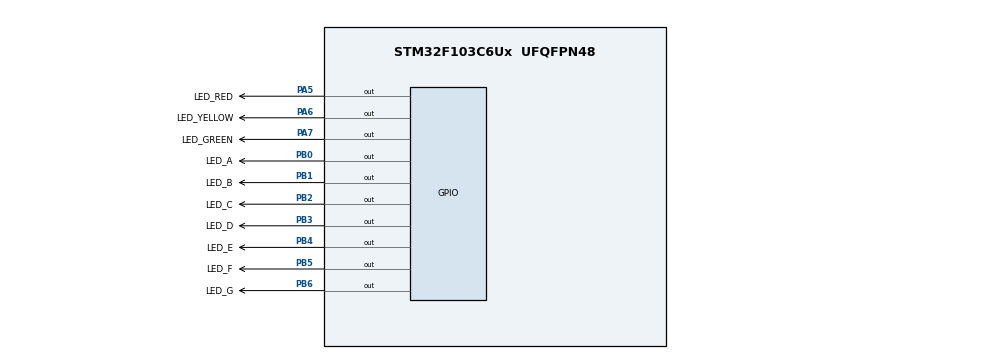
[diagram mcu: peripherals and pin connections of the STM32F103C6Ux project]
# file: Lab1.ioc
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Mcu.Family=STM32F1
Mcu.Name=STM32F103C6Ux
Mcu.Package=UFQFPN48
NVIC.PriorityGroup=NVIC_PRIORITYGROUP_4
PA5.GPIO_Label=LED_RED
PA5.Signal=GPIO_Output
PA6.GPIO_Label=LED_YELLOW
PA6.Signal=GPIO_Output
PA7.GPIO_Label=LED_GREEN
PA7.Signal=GPIO_Output
PB0.GPIO_Label=LED_A
PB0.Signal=GPIO_Output
PB1.GPIO_Label=LED_B
PB1.Signal=GPIO_Output
PB2.GPIO_Label=LED_C
PB2.Signal=GPIO_Output
PB3.GPIO_Label=LED_D
PB3.Signal=GPIO_Output
PB4.GPIO_Label=LED_E
PB4.Signal=GPIO_Output
PB5.GPIO_Label=LED_F
PB5.Signal=GPIO_Output
PB6.GPIO_Label=LED_G
PB6.Signal=GPIO_Output
ProjectManager.HeapSize=0x200
ProjectManager.StackSize=0x400
ProjectManager.TargetToolchain=STM32CubeIDE
RCC.APB1Freq_Value=8000000
RCC.APB2Freq_Value=8000000
board=custom

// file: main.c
/* USER CODE BEGIN Header */
/**
  ******************************************************************************
  * @file           : main.c
  * @brief          : Main program body
  ******************************************************************************
  * @attention
  *
  * Copyright (c) 2022 STMicroelectronics.
  * All rights reserved.
  *
  * This software is licensed under terms that can be found in the LICENSE file
  * in the root directory of this software component.
  * If no LICENSE file comes with this software, it is provided AS-IS.
  *
  ******************************************************************************
  */
/* USER CODE END Header */
#include "main.h"

void SystemClock_Config(void);
static void MX_GPIO_Init(void);

int main(void)
{
  /* USER CODE BEGIN 1 */
void display7SEG(int num) {
	switch (num){
		case 0:
			HAL_GPIO_WritePin(LED_A_GPIO_Port, LED_A_Pin, RESET);
			HAL_GPIO_WritePin(LED_B_GPIO_Port, LED_B_Pin, RESET);
			HAL_GPIO_WritePin(LED_C_GPIO_Port, LED_C_Pin, RESET);
			HAL_GPIO_WritePin(LED_D_GPIO_Port, LED_D_Pin, RESET);
			HAL_GPIO_WritePin(LED_E_GPIO_Port, LED_E_Pin, RESET);
			HAL_GPIO_WritePin(LED_F_GPIO_Port, LED_F_Pin, RESET);
			HAL_GPIO_WritePin(LED_G_GPIO_Port, LED_G_Pin, SET);
			break;

		case 1:
			HAL_GPIO_WritePin(LED_A_GPIO_Port, LED_A_Pin, SET);
			HAL_GPIO_WritePin(LED_B_GPIO_Port, LED_B_Pin, RESET);
			HAL_GPIO_WritePin(LED_C_GPIO_Port, LED_C_Pin, RESET);
			HAL_GPIO_WritePin(LED_D_GPIO_Port, LED_D_Pin, SET);
			HAL_GPIO_WritePin(LED_E_GPIO_Port, LED_E_Pin, SET);
			HAL_GPIO_WritePin(LED_F_GPIO_Port, LED_F_Pin, SET);
			HAL_GPIO_WritePin(LED_G_GPIO_Port, LED_G_Pin, SET);
			break;

		case 2:
			HAL_GPIO_WritePin(LED_A_GPIO_Port, LED_A_Pin, RESET);
			HAL_GPIO_WritePin(LED_B_GPIO_Port, LED_B_Pin, RESET);
			HAL_GPIO_WritePin(LED_C_GPIO_Port, LED_C_Pin, SET);
			HAL_GPIO_WritePin(LED_D_GPIO_Port, LED_D_Pin, RESET);
			HAL_GPIO_WritePin(LED_E_GPIO_Port, LED_E_Pin, RESET);
			HAL_GPIO_WritePin(LED_F_GPIO_Port, LED_F_Pin, SET);
			HAL_GPIO_WritePin(LED_G_GPIO_Port, LED_G_Pin, RESET);
			break;

		case 3:
			HAL_GPIO_WritePin(LED_A_GPIO_Port, LED_A_Pin, RESET);
			HAL_GPIO_WritePin(LED_B_GPIO_Port, LED_B_Pin, RESET);
			HAL_GPIO_WritePin(LED_C_GPIO_Port, LED_C_Pin, RESET);
			HAL_GPIO_WritePin(LED_D_GPIO_Port, LED_D_Pin, RESET);
			HAL_GPIO_WritePin(LED_E_GPIO_Port, LED_E_Pin, SET);
			HAL_GPIO_WritePin(LED_F_GPIO_Port, LED_F_Pin, SET);
			HAL_GPIO_WritePin(LED_G_GPIO_Port, LED_G_Pin, RESET);
			break;

		case 4:
			HAL_GPIO_WritePin(LED_A_GPIO_Port, LED_A_Pin, SET);
			HAL_GPIO_WritePin(LED_B_GPIO_Port, LED_B_Pin, RESET);
			HAL_GPIO_WritePin(LED_C_GPIO_Port, LED_C_Pin, RESET);
			HAL_GPIO_WritePin(LED_D_GPIO_Port, LED_D_Pin, SET);
			HAL_GPIO_WritePin(LED_E_GPIO_Port, LED_E_Pin, SET);
			HAL_GPIO_WritePin(LED_F_GPIO_Port, LED_F_Pin, RESET);
			HAL_GPIO_WritePin(LED_G_GPIO_Port, LED_G_Pin, RESET);
			break;

		case 5:
			HAL_GPIO_WritePin(LED_A_GPIO_Port, LED_A_Pin, RESET);
			HAL_GPIO_WritePin(LED_B_GPIO_Port, LED_B_Pin, SET);
			HAL_GPIO_WritePin(LED_C_GPIO_Port, LED_C_Pin, RESET);
			HAL_GPIO_WritePin(LED_D_GPIO_Port, LED_D_Pin, RESET);
			HAL_GPIO_WritePin(LED_E_GPIO_Port, LED_E_Pin, SET);
			HAL_GPIO_WritePin(LED_F_GPIO_Port, LED_F_Pin, RESET);
			HAL_GPIO_WritePin(LED_G_GPIO_Port, LED_G_Pin, RESET);
			break;

		case 6:
			HAL_GPIO_WritePin(LED_A_GPIO_Port, LED_A_Pin, RESET);
			HAL_GPIO_WritePin(LED_B_GPIO_Port, LED_B_Pin, SET);
			HAL_GPIO_WritePin(LED_C_GPIO_Port, LED_C_Pin, RESET);
			HAL_GPIO_WritePin(LED_D_GPIO_Port, LED_D_Pin, RESET);
			HAL_GPIO_WritePin(LED_E_GPIO_Port, LED_E_Pin, RESET);
			HAL_GPIO_WritePin(LED_F_GPIO_Port, LED_F_Pin, RESET);
			HAL_GPIO_WritePin(LED_G_GPIO_Port, LED_G_Pin, RESET);
			break;

		case 7:
			HAL_GPIO_WritePin(LED_A_GPIO_Port, LED_A_Pin, RESET);
			HAL_GPIO_WritePin(LED_B_GPIO_Port, LED_B_Pin, RESET);
			HAL_GPIO_WritePin(LED_C_GPIO_Port, LED_C_Pin, RESET);
			HAL_GPIO_WritePin(LED_D_GPIO_Port, LED_D_Pin, SET);
			HAL_GPIO_WritePin(LED_E_GPIO_Port, LED_E_Pin, SET);
			HAL_GPIO_WritePin(LED_F_GPIO_Port, LED_F_Pin, SET);
			HAL_GPIO_WritePin(LED_G_GPIO_Port, LED_G_Pin, SET);
			break;

		case 8:
			HAL_GPIO_WritePin(LED_A_GPIO_Port, LED_A_Pin, RESET);
			HAL_GPIO_WritePin(LED_B_GPIO_Port, LED_B_Pin, RESET);
			HAL_GPIO_WritePin(LED_C_GPIO_Port, LED_C_Pin, RESET);
			HAL_GPIO_WritePin(LED_D_GPIO_Port, LED_D_Pin, RESET);
			HAL_GPIO_WritePin(LED_E_GPIO_Port, LED_E_Pin, RESET);
			HAL_GPIO_WritePin(LED_F_GPIO_Port, LED_F_Pin, RESET);
			HAL_GPIO_WritePin(LED_G_GPIO_Port, LED_G_Pin, RESET);
			break;

		case 9:
			HAL_GPIO_WritePin(LED_A_GPIO_Port, LED_A_Pin, RESET);
			HAL_GPIO_WritePin(LED_B_GPIO_Port, LED_B_Pin, RESET);
			HAL_GPIO_WritePin(LED_C_GPIO_Port, LED_C_Pin, RESET);
			HAL_GPIO_WritePin(LED_D_GPIO_Port, LED_D_Pin, RESET);
			HAL_GPIO_WritePin(LED_E_GPIO_Port, LED_E_Pin, SET);
			HAL_GPIO_WritePin(LED_F_GPIO_Port, LED_F_Pin, RESET);
			HAL_GPIO_WritePin(LED_G_GPIO_Port, LED_G_Pin, RESET);
			break;
	}
}
  /* USER CODE END 1 */

  /* MCU Configuration--------------------------------------------------------*/

  /* Reset of all peripherals, Initializes the Flash interface and the Systick. */
  HAL_Init();

  /* Configure the system clock */
  SystemClock_Config();

  /* Initialize all configured peripherals */
  MX_GPIO_Init();

  /* Infinite loop */
  /* USER CODE BEGIN WHILE */
int counter = 0;
  while (1)
  {
    /* USER CODE END WHILE */
	  if (counter >= 10) counter = 0;
	  display7SEG(counter ++);
	  HAL_Delay(1000);
  }
}

void SystemClock_Config(void)
{
  RCC_OscInitTypeDef RCC_OscInitStruct = {0};
  RCC_ClkInitTypeDef RCC_ClkInitStruct = {0};

  /** Initializes the RCC Oscillators according to the specified parameters
  * in the RCC_OscInitTypeDef structure.
  */
  RCC_OscInitStruct.OscillatorType = RCC_OSCILLATORTYPE_HSI;
  RCC_OscInitStruct.HSIState = RCC_HSI_ON;
  RCC_OscInitStruct.HSICalibrationValue = RCC_HSICALIBRATION_DEFAULT;
  RCC_OscInitStruct.PLL.PLLState = RCC_PLL_NONE;
  if (HAL_RCC_OscConfig(&RCC_OscInitStruct) != HAL_OK)
  {
    Error_Handler();
  }

  /** Initializes the CPU, AHB and APB buses clocks
  */
  RCC_ClkInitStruct.ClockType = RCC_CLOCKTYPE_HCLK|RCC_CLOCKTYPE_SYSCLK
                              |RCC_CLOCKTYPE_PCLK1|RCC_CLOCKTYPE_PCLK2;
  RCC_ClkInitStruct.SYSCLKSource = RCC_SYSCLKSOURCE_HSI;
  RCC_ClkInitStruct.AHBCLKDivider = RCC_SYSCLK_DIV1;
  RCC_ClkInitStruct.APB1CLKDivider = RCC_HCLK_DIV1;
  RCC_ClkInitStruct.APB2CLKDivider = RCC_HCLK_DIV1;

  if (HAL_RCC_ClockConfig(&RCC_ClkInitStruct, FLASH_LATENCY_0) != HAL_OK)
  {
    Error_Handler();
  }
}

static void MX_GPIO_Init(void)
{
  GPIO_InitTypeDef GPIO_InitStruct = {0};

  /* GPIO Ports Clock Enable */
  __HAL_RCC_GPIOA_CLK_ENABLE();
  __HAL_RCC_GPIOB_CLK_ENABLE();

  /*Configure GPIO pin Output Level */
  HAL_GPIO_WritePin(GPIOA, LED_RED_Pin|LED_YELLOW_Pin|LED_GREEN_Pin, GPIO_PIN_RESET);

  /*Configure GPIO pin Output Level */
  HAL_GPIO_WritePin(GPIOB, LED_A_Pin|LED_B_Pin|LED_C_Pin|LED_D_Pin
                          |LED_E_Pin|LED_F_Pin|LED_G_Pin, GPIO_PIN_RESET);

  /*Configure GPIO pins : LED_RED_Pin LED_YELLOW_Pin LED_GREEN_Pin */
  GPIO_InitStruct.Pin = LED_RED_Pin|LED_YELLOW_Pin|LED_GREEN_Pin;
  GPIO_InitStruct.Mode = GPIO_MODE_OUTPUT_PP;
  GPIO_InitStruct.Pull = GPIO_NOPULL;
  GPIO_InitStruct.Speed = GPIO_SPEED_FREQ_LOW;
  HAL_GPIO_Init(GPIOA, &GPIO_InitStruct);

  /*Configure GPIO pins : LED_A_Pin LED_B_Pin LED_C_Pin LED_D_Pin
                           LED_E_Pin LED_F_Pin LED_G_Pin */
  GPIO_InitStruct.Pin = LED_A_Pin|LED_B_Pin|LED_C_Pin|LED_D_Pin
                          |LED_E_Pin|LED_F_Pin|LED_G_Pin;
  GPIO_InitStruct.Mode = GPIO_MODE_OUTPUT_PP;
  GPIO_InitStruct.Pull = GPIO_NOPULL;
  GPIO_InitStruct.Speed = GPIO_SPEED_FREQ_LOW;
  HAL_GPIO_Init(GPIOB, &GPIO_InitStruct);

}

void Error_Handler(void)
{
  __disable_irq();
  while (1)
  {
  }
}
